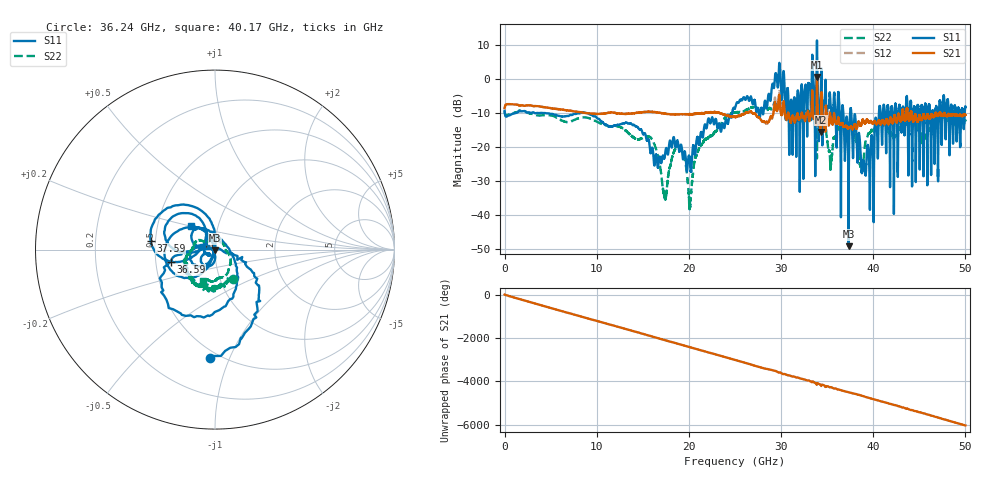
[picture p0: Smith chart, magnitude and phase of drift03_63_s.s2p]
!Created with skrf (http://scikit-rf.org).
# Hz S RI R 50.0
!freq ReS11 ImS11 ReS21 ImS21 ReS12 ImS12 ReS22 ImS22
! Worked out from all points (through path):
!   10001 points, 300 kHz to 50 GHz, reference 50 ohm
!   highest |S21| = 0.70 dB at 33.9 GHz (marker M1); lowest = -15.5 dB at 34.32 GHz (marker M2)
!   group delay of S21, straight-line fit = 335 ps
!   lowest |S11| = -49.1 dB at 37.33 GHz (marker M3), VSWR 1.01, Z = 49.8 - j0.291 ohm
!   |S11| at or under -10 dB: 4.468 GHz to 8.197 GHz (3.729 GHz wide, 58.9 % of centre); 9.013 GHz to 24.7 GHz (15.68 GHz wide, 93.1 % of centre); 37.62 GHz to 40.62 GHz (2.996 GHz wide, 7.66 % of centre) (the widest 3 of 59)
!   |S22| runs from -38.3 to -5.9 dB; largest |S21 - S12| = 0.11
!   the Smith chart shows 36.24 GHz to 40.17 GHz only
!   S11 on the Smith chart (normalised r, x): 36.24 GHz: 0.44, -0.85; 36.59 GHz: 0.60, -0.09; 37.59 GHz: 0.47, +0.05; 40.17 GHz: 0.74, +0.20
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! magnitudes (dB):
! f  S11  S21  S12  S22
! 300 kHz  -9.3  -8.5  -8.5  -9.4
! 8.335 GHz  -9.9  -9.8  -9.8  -11.3
! 16.67 GHz  -25.6  -9.8  -9.8  -23.2
! 17.4 GHz  -22.4  -10.1  -10.1  -35.1
! 19.1 GHz  -19.5  -10.3  -10.3  -20.2
! 20.13 GHz  -24.6  -10.3  -10.3  -36.7
! 21.17 GHz  -18.2  -10.1  -10.1  -19.8
! 25 GHz  -8.6  -11.1  -11.1  -9.9
! 29.66 GHz  -2.3  -8.3  -8.4  -7.1
! 31.08 GHz  -6.1  -12.7  -12.7  -10.5
! 33.34 GHz  0.5  -7.4  -7.5  -9.4
! 33.9 GHz  11.4  0.7  0.3  -23.3
! 34.32 GHz  -2.9  -15.5  -14.9  -11.2
! 35.34 GHz  -5.8  -10.4  -10.0  -25.1
! 36.24 GHz  -4.3  -11.8  -11.7  -14.3
! 36.59 GHz  -11.8  -13.1  -13.0  -13.6
! 37.33 GHz  -49.1  -14.4  -14.5  -13.5
! 37.59 GHz  -8.8  -14.0  -13.9  -13.7
! 38.71 GHz  -25.4  -13.4  -13.4  -25.7
! 40.17 GHz  -14.5  -12.5  -12.5  -14.4
! 41.67 GHz  -9.5  -13.2  -13.2  -15.0
! 50 GHz  -8.1  -10.5  -10.5  -12.2
